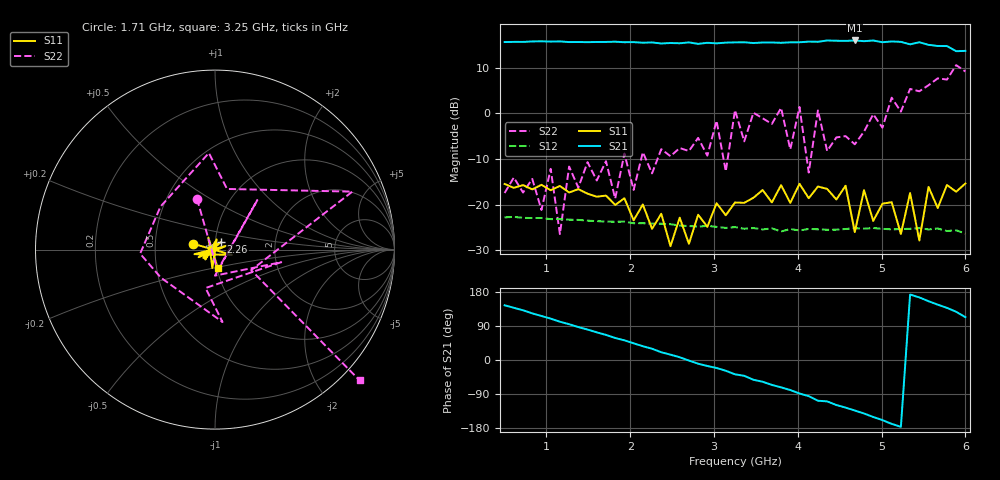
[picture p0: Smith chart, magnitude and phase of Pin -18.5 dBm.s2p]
! RsaToolbox (C) 2015 Rohde & Schwarz America
! Number of points: 51
! Number of ports: 2
! Balanced ports?: No
# Hz S RI R 50
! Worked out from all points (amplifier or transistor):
!   51 points, 500 MHz to 6 GHz, reference 50 ohm
!   highest |S21| = 16.0 dB at 4.68 GHz (marker M1)
!   |S21| within 3 dB of that: start of sweep to end of sweep
!   unconditionally stable (mu >= 1): start of sweep to 3.004 GHz; 3.046 GHz to 3.218 GHz; 4.293 GHz to 4.788 GHz (the widest 3 of 6)
!   at 1.38 GHz: K = 1.35, MAG = 15.9 dB, |S12| = -23.3 dB
!   at 3.25 GHz: K = -0.02, MSG = 20.2 dB, |S12| = -24.9 dB
!   at 6 GHz: K = -14.78, MSG = 20.0 dB, |S12| = -26.3 dB
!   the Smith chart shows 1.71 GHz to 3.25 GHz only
!   S11 on the Smith chart (normalised r, x): 1.71 GHz: 0.78, +0.05; 2.26 GHz: 1.07, +0.09; 3.25 GHz: 1.01, -0.21
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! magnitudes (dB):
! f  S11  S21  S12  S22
! 500 MHz  -15.5  15.6  -22.8  -17.4
! 940 MHz  -15.6  15.8  -22.9  -21.2
! 1.05 GHz  -16.8  15.7  -23.2  -12.1
! 1.16 GHz  -15.9  15.8  -23.2  -26.4
! 1.27 GHz  -17.3  15.6  -23.3  -11.6
! 1.49 GHz  -17.6  15.6  -23.5  -10.7
! 1.71 GHz  -18.0  15.6  -23.7  -10.5
! 2.26 GHz  -25.3  15.5  -24.1  -13.1
! 2.37 GHz  -22.0  15.3  -24.2  -7.8
! 2.7 GHz  -28.6  15.5  -24.7  -8.3
! 3.03 GHz  -19.7  15.3  -24.8  -1.6
! 3.14 GHz  -22.3  15.5  -25.1  -12.7
! 3.25 GHz  -19.5  15.5  -24.9  0.7
! 3.91 GHz  -19.6  15.6  -25.3  -7.9
! 4.02 GHz  -15.4  15.6  -25.6  1.4
! 4.13 GHz  -18.6  15.7  -25.3  -13.0
! 4.24 GHz  -16.0  15.7  -25.4  0.7
! 4.68 GHz  -26.0  16.0  -25.1  -6.8
! 5.12 GHz  -19.5  15.7  -25.4  3.4
! 5.45 GHz  -27.8  15.6  -25.1  4.8
! 5.56 GHz  -16.1  15.0  -25.4  6.2
! 6 GHz  -15.3  13.7  -26.3  9.2
